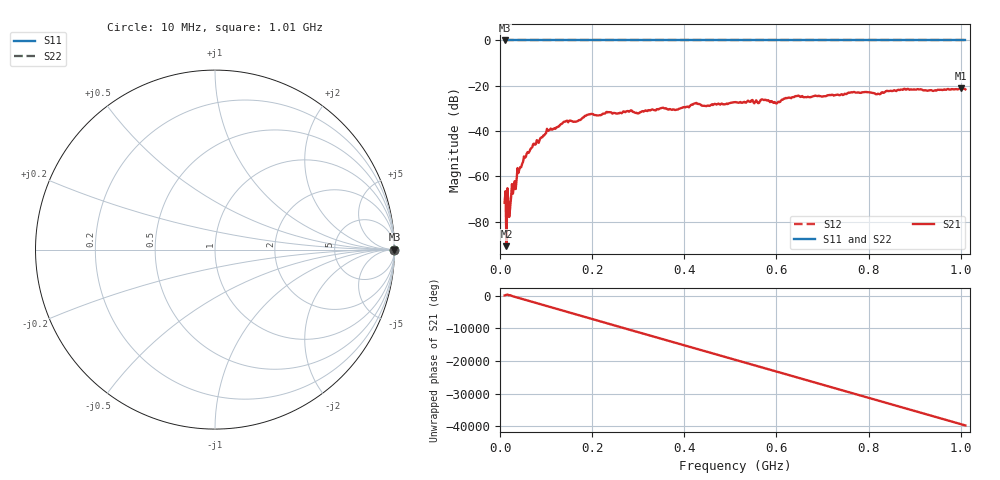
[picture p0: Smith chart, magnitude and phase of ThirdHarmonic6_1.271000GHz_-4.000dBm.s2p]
! 8/16/2025 1:44:45 PM
! C:\ANRITSUVNA\TEMP\TEMP.S2P
! CHANNEL.1
! TR.MEASUREMENT
! RAW.DATA
! RF.CORRECTION.OFF
! AVERAGING.OFF
! IF.BANDWIDTH: 5KHZ
! SWEEPTYPE:  FREQ.SWEEP(Linear)
! Reference Plane Port Info
! PORT:  PORT1  PORT2
! DISTANCE:  0  m  0  m
! TIME:  0  s  0  s
! PHASE.OFFSET:  0  deg.  0  deg.
! LOSS:  0  dB  0  dB
! REF.LOSS:  0  dB  0  dB
! REF.FREQ:  0  Hz  0  Hz
! Power Info
! POWER:  -20  dBm  -20  dBm
! EFF.POWER:  -20  dBm  -20  dBm
! SOURCE.ATTEN:  0  dB  0  dB
! TEST.ATTEN:  0  dB  0  dB
# GHZ S RI R 50.0
! FREQ.GHZ  S11RE  S11IM  S21RE  S21IM  S12RE  S12IM  S22RE  S22IM
!; PortSelection: Port_12
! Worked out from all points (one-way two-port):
!   501 points, 10 MHz to 1.01 GHz, reference 50 ohm
!   highest |S21| = -21.12 dB at 1 GHz (marker M1); lowest = -90.7 dB at 14 MHz (marker M2)
!   lowest |S11| = 0.0 dB at 10 MHz (marker M3)
!   |S11| at or under -10 dB: nowhere
!   |S22| runs from 0.0 to 0.0 dB; largest |S21 - S12| = 1.1
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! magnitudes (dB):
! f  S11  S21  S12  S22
! 10 MHz  0.0  -71.6  0.0  0.0
! 14 MHz  0.0  -90.7  0.0  0.0
! 18 MHz  0.0  -71.0  0.0  0.0
! 24 MHz  0.0  -69.4  0.0  0.0
! 28 MHz  0.0  -67.6  0.0  0.0
! 32 MHz  0.0  -62.1  0.0  0.0
! 42 MHz  0.0  -56.9  0.0  0.0
! 56 MHz  0.0  -51.4  0.0  0.0
! 76 MHz  0.0  -46.0  0.0  0.0
! 106 MHz  0.0  -39.7  0.0  0.0
! 142 MHz  0.0  -35.8  0.0  0.0
! 178 MHz  0.0  -34.4  0.0  0.0
! 196 MHz  0.0  -32.6  0.0  0.0
! 344 MHz  0.0  -30.4  0.0  0.0
! 510 MHz  0.0  -27.2  0.0  0.0
! 572 MHz  0.0  -26.2  0.0  0.0
! 598 MHz  0.0  -27.6  0.0  0.0
! 644 MHz  0.0  -24.6  0.0  0.0
! 678 MHz  0.0  -24.8  0.0  0.0
! 844 MHz  0.0  -22.3  0.0  0.0
! 1 GHz  0.0  -21.1  0.0  0.0
! 1.01 GHz  0.0  -21.6  0.0  0.0
